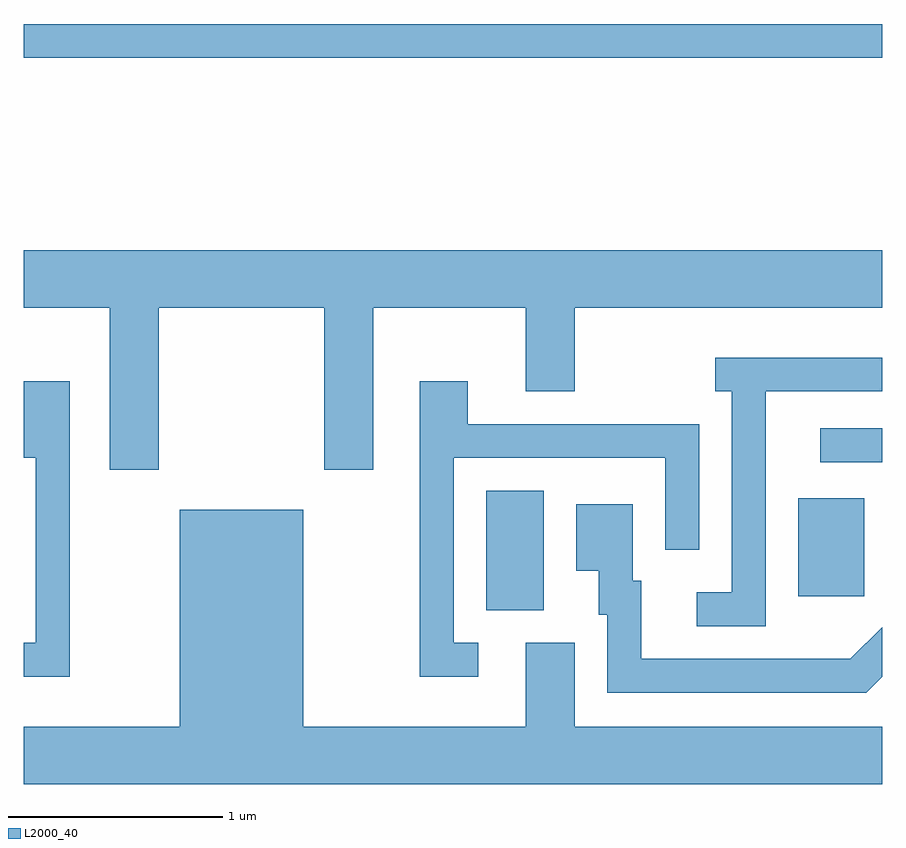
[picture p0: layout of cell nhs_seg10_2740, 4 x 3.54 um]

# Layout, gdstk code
import gdstk
lib = gdstk.Library(unit=1e-6, precision=1e-09)
def R(c, l, rs):  # rectangles x0, y0, x1, y1
    for r in rs: c.add(gdstk.rectangle(r[:2], r[2:], *l))
def P(c, l, *ps):  # polygons
    for p in ps: c.add(gdstk.Polygon(p, *l))
L2000_40 = (2000, 40)

nhs_seg10_2740 = lib.new_cell('nhs_seg10_2740')
R(nhs_seg10_2740, L2000_40, [(267.766,2143.586,268.034,2144.144), (269.221,2143.651,269.529,2144.109), (269.323,2144.276,269.611,2144.434), (265.611,2146.161,269.611,2146.319)])
P(nhs_seg10_2740, L2000_40, [(266.239,2144.996),(267.011,2144.996),(267.011,2144.241),(267.239,2144.241),(267.239,2144.996),(267.951,2144.996),(267.951,2144.606),(268.179,2144.606),(268.179,2144.996),(269.611,2144.996),(269.611,2145.264),(265.611,2145.264),(265.611,2144.996),(266.011,2144.996),(266.011,2144.241),(266.239,2144.241)],
  [(269.069,2144.606),(269.611,2144.606),(269.611,2144.764),(268.833,2144.764),(268.833,2144.606),(268.911,2144.606),(268.911,2143.669),(268.748,2143.669),(268.748,2143.511),(269.069,2143.511)],
  [(267.728,2143.434),(267.614,2143.434),(267.614,2144.296),(268.601,2144.296),(268.601,2143.868),(268.759,2143.868),(268.759,2144.454),(267.679,2144.454),(267.679,2144.654),(267.456,2144.654),(267.456,2143.276),(267.728,2143.276)],
  [(265.824,2144.654),(265.611,2144.654),(265.611,2144.296),(265.666,2144.296),(265.666,2143.434),(265.611,2143.434),(265.611,2143.276),(265.824,2143.276)],
  [(269.611,2143.275),(269.611,2143.507),(269.464,2143.359),(268.489,2143.359),(268.489,2143.724),(268.449,2143.724),(268.449,2144.079),(268.186,2144.079),(268.186,2143.771),(268.291,2143.771),(268.291,2143.566),(268.331,2143.566),(268.331,2143.201),(269.537,2143.201)],
  [(269.611,2143.044),(268.179,2143.044),(268.179,2143.434),(267.951,2143.434),(267.951,2143.044),(266.914,2143.044),(266.914,2144.054),(266.336,2144.054),(266.336,2143.044),(265.611,2143.044),(265.611,2142.776),(269.611,2142.776)])

lib.write_gds('nhs_seg10_2740.gds')
